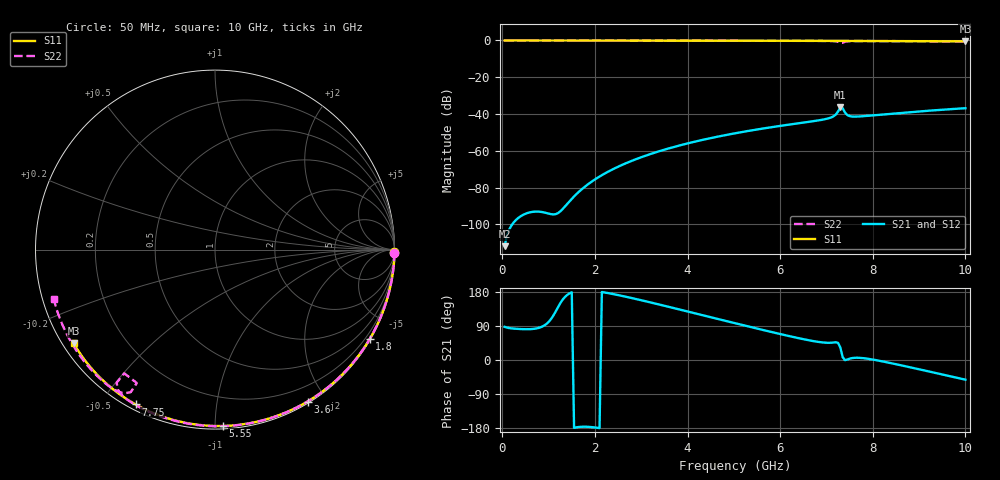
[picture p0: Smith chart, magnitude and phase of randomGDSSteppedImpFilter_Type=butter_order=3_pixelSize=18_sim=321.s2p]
! freq	dB(S11)	phase(S11)	dB(S12)	phase(S12)
!  dB(S21)	phase(S21)	dB(S22)	phase(S22)
!S-par simulation data
#  GHz  S  DB  R 50
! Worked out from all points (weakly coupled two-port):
!   200 points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, 50 MHz to 10 GHz, reference 50 ohm
!   highest |S21| = -36.39 dB at 7.3 GHz (marker M1); lowest = -111.9 dB at 50 MHz (marker M2)
!   lowest |S11| = -0.5 dB at 10 GHz (marker M3), VSWR 35.41, Z = 1.54 - j15.1 ohm
!   |S11| at or under -10 dB: nowhere
!   |S22| runs from -1.4 to 0.0 dB; largest |S21 - S12| = 0
!   S11 on the Smith chart (normalised r, x): 50 MHz: open; 1.8 GHz: 0.03, -3.72; 3.6 GHz: 0.02, -1.78; 5.55 GHz: 0.02, -1.05; 7.75 GHz: 0.02, -0.61; 10 GHz: 0.03, -0.30
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0.05  -0.00 -0.9  -111.91 87.5  -111.91 87.5  -0.00 -1.0
0.85  -0.02 -14.4  -93.31 87.5  -93.31 87.5  -0.02 -16.0
1.75  -0.04 -29.3  -80.23 -176.0  -80.23 -176.0  -0.04 -32.6
1.8  -0.04 -30.1  -79.22 -176.1  -79.22 -176.1  -0.04 -33.5
2.1  -0.04 -35.0  -74.03 -179.7  -74.03 -179.7  -0.05 -39.0
2.5  -0.05 -41.4  -68.70 171.4  -68.70 171.4  -0.06 -46.1
3.4  -0.07 -55.6  -60.18 146.1  -60.18 146.1  -0.08 -61.8
3.6  -0.08 -58.7  -58.69 140.1  -58.69 140.1  -0.09 -65.2
4.3  -0.10 -69.2  -54.23 119.0  -54.23 119.0  -0.11 -76.9
5.05  -0.12 -80.2  -50.39 96.4  -50.39 96.4  -0.14 -89.0
5.55  -0.14 -87.3  -48.23 81.5  -48.23 81.5  -0.16 -96.9
6.7  -0.20 -103.2  -43.97 50.2  -43.97 50.2  -0.23 -114.9
7  -0.22 -107.2  -42.66 45.5  -42.66 45.5  -0.27 -120.0
7.15  -0.23 -109.2  -41.30 46.1  -41.30 46.1  -0.36 -123.3
7.25  -0.24 -110.5  -38.67 45.3  -38.67 45.3  -0.70 -126.5
7.3  -0.24 -111.2  -36.39 32.7  -36.39 32.7  -1.36 -126.3
7.35  -0.24 -111.9  -36.82 7.6  -36.82 7.6  -1.29 -120.4
7.4  -0.24 -112.5  -39.22 -0.3  -39.22 -0.3  -0.69 -120.6
7.5  -0.25 -113.9  -41.15 3.4  -41.15 3.4  -0.39 -123.7
7.75  -0.27 -117.2  -41.28 5.4  -41.28 5.4  -0.32 -128.6
8.35  -0.32 -125.0  -39.97 -7.2  -39.97 -7.2  -0.36 -138.0
10  -0.49 -146.4  -36.86 -51.9  -36.86 -51.9  -0.54 -162.9
